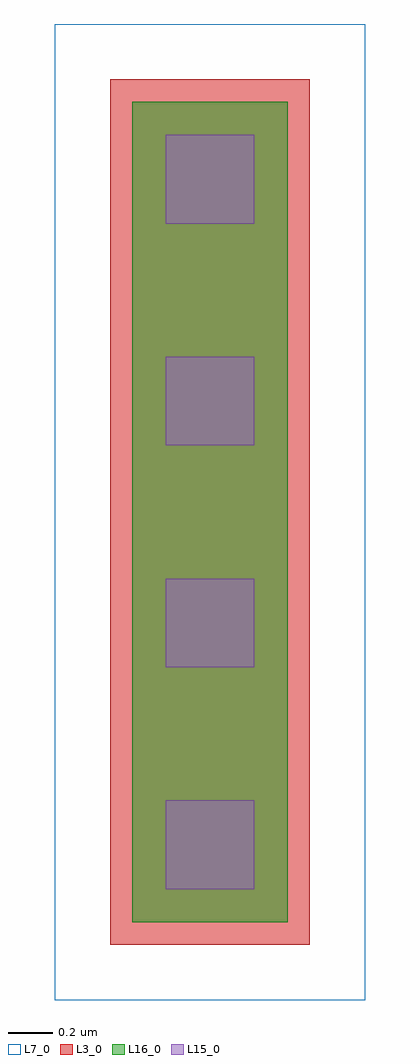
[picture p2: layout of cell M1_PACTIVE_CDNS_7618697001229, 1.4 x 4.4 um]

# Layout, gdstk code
import gdstk
lib = gdstk.Library(unit=1e-6, precision=1e-09)
def R(c, l, rs):  # rectangles x0, y0, x1, y1
    for r in rs: c.add(gdstk.rectangle(r[:2], r[2:], *l))
def A(c, l, x, y, w, h, nx, ny, dx, dy):  # array of equal rectangles
    R(c, l, [(x+i*dx, y+j*dy, x+i*dx+w, y+j*dy+h) for i in range(nx) for j in range(ny)])
L3_0 = (3, 0)
L7_0 = (7, 0)
L15_0 = (15, 0)
L16_0 = (16, 0)

m1_pactive_cdns_76186970 = lib.new_cell('M1_PACTIVE_CDNS_7618697001229')
R(m1_pactive_cdns_76186970, L3_0, [(-0.45,-1.95,0.45,1.95)])
R(m1_pactive_cdns_76186970, L7_0, [(-0.7,-2.2,0.7,2.2)])
A(m1_pactive_cdns_76186970, L15_0, -0.2, -1.7, 0.4, 0.4, 1, 4, 0, 1)
R(m1_pactive_cdns_76186970, L16_0, [(-0.35,-1.85,0.35,1.85)])

lib.write_gds('M1_PACTIVE_CDNS_7618697001229.gds')
